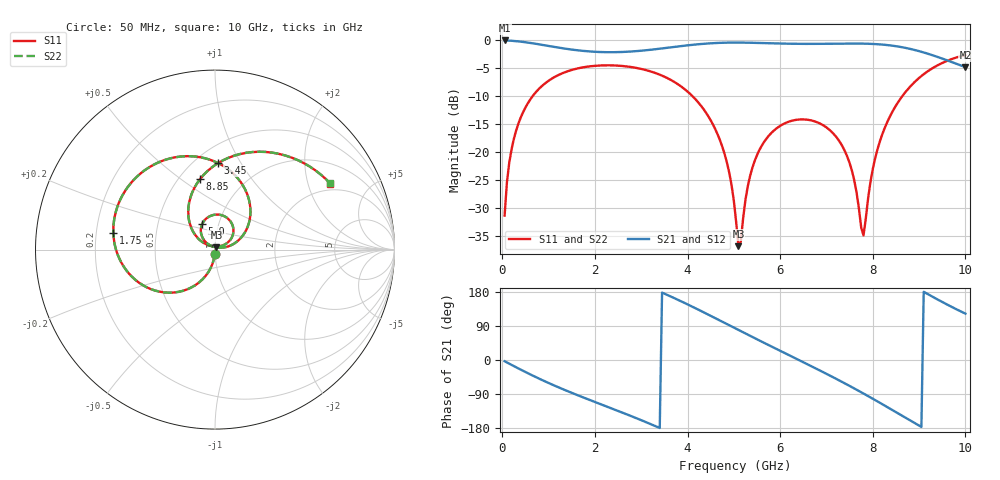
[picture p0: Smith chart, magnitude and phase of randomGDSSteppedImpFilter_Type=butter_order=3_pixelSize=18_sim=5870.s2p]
! freq	dB(S11)	phase(S11)	dB(S12)	phase(S12)
!  dB(S21)	phase(S21)	dB(S22)	phase(S22)
!S-par simulation data
#  GHz  S  DB  R 50
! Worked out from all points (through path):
!   200 points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, 50 MHz to 10 GHz, reference 50 ohm
!   highest |S21| = -0.01 dB at 50 MHz (marker M1); lowest = -4.8 dB at 10 GHz (marker M2)
!   group delay of S21, straight-line fit = 165 ps
!   lowest |S11| = -36.9 dB at 5.1 GHz (marker M3), VSWR 1.03, Z = 50.8 + j1.22 ohm
!   |S11| at or under -10 dB: start of sweep to 655.3 MHz; 4.107 GHz to 8.637 GHz (4.53 GHz wide, 71.1 % of centre)
!   |S22| runs from -36.7 to -2.6 dB; largest |S21 - S12| = 0
!   S11 on the Smith chart (normalised r, x): 50 MHz: 1.00, -0.05; 1.75 GHz: 0.27, +0.08; 3.45 GHz: 0.64, +0.80; 5.9 GHz: 0.83, +0.25; 8.85 GHz: 0.63, +0.59; 10 GHz: 1.72, +2.80
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0.05  -31.40 -93.2  -0.01 -3.3  -0.01 -3.3  -31.40 -93.2
0.2  -19.52 -103.3  -0.07 -12.9  -0.07 -12.9  -19.52 -103.3
0.5  -12.02 -122.2  -0.33 -31.7  -0.33 -31.7  -12.02 -122.2
1.05  -6.95 -153.9  -1.07 -63.4  -1.07 -63.4  -6.95 -153.9
1.75  -4.82 170.6  -1.88 -98.9  -1.88 -98.9  -4.82 170.6
2.65  -4.63 128.2  -2.05 -141.6  -2.05 -141.6  -4.63 128.2
3.4  -6.14 90.8  -1.49 -179.5  -1.49 -179.5  -6.14 90.8
3.45  -6.32 88.2  -1.44 177.9  -1.44 177.9  -6.32 88.2
4.55  -15.09 27.2  -0.49 113.5  -0.49 113.5  -15.09 27.3
4.85  -21.88 13.8  -0.40 94.8  -0.40 94.8  -21.87 14.0
5.05  -32.55 25.9  -0.39 82.4  -0.39 82.4  -32.46 26.6
5.1  -36.89 57.2  -0.39 79.3  -0.39 79.3  -36.66 57.4
5.4  -22.83 140.5  -0.43 60.7  -0.43 60.7  -22.83 140.1
5.9  -15.92 116.4  -0.54 30.3  -0.54 30.3  -15.92 116.2
6.7  -14.40 70.9  -0.62 -18.0  -0.62 -18.0  -14.41 70.7
7.4  -19.88 32.7  -0.56 -61.9  -0.56 -61.9  -19.90 32.2
7.8  -34.96 96.7  -0.58 -88.5  -0.58 -88.5  -35.41 97.2
8  -23.06 149.2  -0.63 -102.2  -0.63 -102.2  -23.09 150.0
8.35  -13.98 134.3  -0.87 -126.8  -0.87 -126.8  -13.99 134.6
8.85  -7.91 101.8  -1.60 -162.5  -1.60 -162.5  -7.91 101.9
9.4  -4.46 65.7  -2.96 159.6  -2.96 159.6  -4.46 65.8
10  -2.61 29.8  -4.79 122.4  -4.79 122.4  -2.61 29.8
